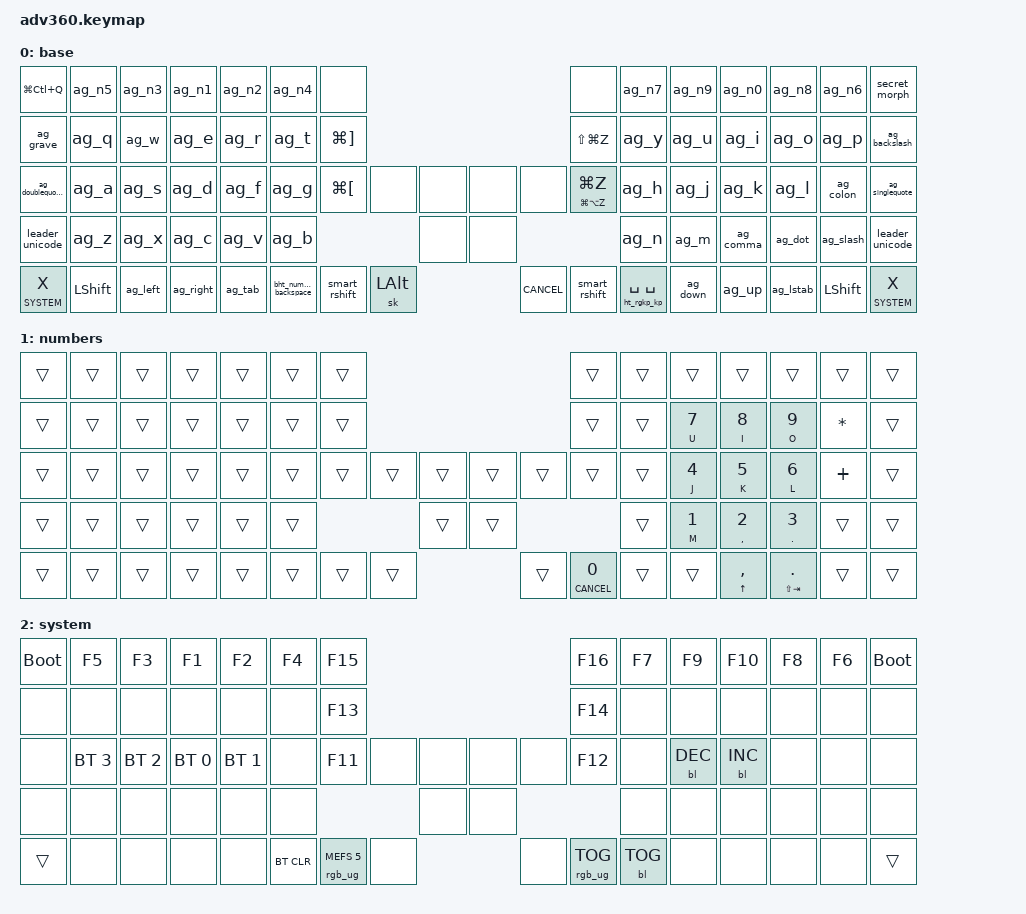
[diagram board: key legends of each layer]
// Make sure that there are no other imports, otherwise the config will be overwritten (e.g., behavior reconfigurations)
#include "config.dtsi"

/ {
  keymap {
    compatible = "zmk,keymap";

    base {
      bindings = <
        &kp LG(LC(Q))        &ag_n5       &ag_n3     &ag_n1      &ag_n2    &ag_n4   &none                                                                                                                                &none                       &ag_n7   &ag_n9     &ag_n0      &ag_n8      &ag_n6       &secret_morph
        &ag_grave            &ag_q        &ag_w      &ag_e       &ag_r     &ag_t    &kp LG(RIGHT_BRACKET)                                                                                                                &kp LS(LG(Z))               &ag_y    &ag_u      &ag_i       &ag_o       &ag_p        &ag_backslash
        &ag_doublequotes     &ag_a        &ag_s      &ag_d       &ag_f     &ag_g    &kp LG(LEFT_BRACKET)                             &none           &none      &none          &none                                     &ht_kp_kp LG(LA(Z)) LG(Z)   &ag_h    &ag_j      &ag_k       &ag_l       &ag_colon    &ag_singlequote
        &leader_unicode      &ag_z        &ag_x      &ag_c       &ag_v     &ag_b                                                                     &none      &none                                                                                &ag_n    &ag_m      &ag_comma   &ag_dot     &ag_slash    &leader_unicode
        &ht_mo_kp SYSTEM X   &kp LSHIFT   &ag_left   &ag_right   &ag_tab                                    &bht_numword_backspace   &smart_rshift   &sk LALT   &kp K_CANCEL   &smart_rshift   &ht_rgkp_kp SPACE SPACE                                        &ag_down   &ag_up      &ag_lstab   &kp LSHIFT   &ht_mo_kp SYSTEM X
      >;
    };
    numbers {
      bindings = <
        &trans   &trans   &trans   &trans   &trans   &trans   &trans                                                                        &trans   &trans   &trans           &trans               &trans                  &trans         &trans
        &trans   &trans   &trans   &trans   &trans   &trans   &trans                                                                        &trans   &trans   &ht_kp_kp U N7   &ht_kp_kp I N8       &ht_kp_kp O N9          &kp ASTERISK   &trans
        &trans   &trans   &trans   &trans   &trans   &trans   &trans            &trans   &trans   &trans   &trans                           &trans   &trans   &ht_kp_kp J N4   &ht_kp_kp K N5       &ht_kp_kp L N6          &kp PLUS       &trans
        &trans   &trans   &trans   &trans   &trans   &trans                              &trans   &trans                                             &trans   &ht_kp_kp M N1   &ht_kp_kp COMMA N2   &ht_kp_kp DOT N3        &trans         &trans
        &trans   &trans   &trans   &trans   &trans                     &trans   &trans   &trans   &trans   &ht_sk_kp K_CANCEL N0   &trans                     &trans           &ht_kp_kp UP COMMA   &ht_kp_kp LS(TAB) DOT   &trans         &trans
      >;
    };
    system {
      bindings = <
        &bootloader   &kp F5         &kp F3         &kp F1         &kp F2         &kp F4   &kp F15                                                                                        &kp F16   &kp F7   &kp F9       &kp F10      &kp F8   &kp F6   &bootloader
        &none         &none          &none          &none          &none          &none    &kp F13                                                                                        &kp F14   &none    &none        &none        &none    &none    &none
        &none         &bt BT_SEL 3   &bt BT_SEL 2   &bt BT_SEL 0   &bt BT_SEL 1   &none    &kp F11                &none                    &none   &none   &none                          &kp F12   &none    &bl BL_DEC   &bl BL_INC   &none    &none    &none
        &none         &none          &none          &none          &none          &none                                                    &none   &none                                            &none    &none        &none        &none    &none    &none
        &trans        &none          &none          &none          &none                             &bt BT_CLR   &rgb_ug RGB_MEFS_CMD 5   &none   &none   &rgb_ug RGB_TOG   &bl BL_TOG                      &none        &none        &none    &none    &trans
      >;
    };
  };
};
